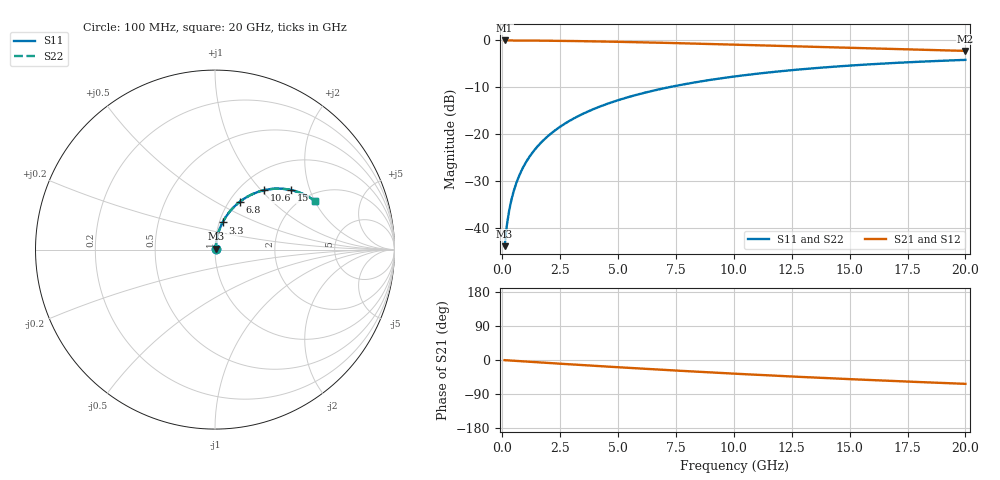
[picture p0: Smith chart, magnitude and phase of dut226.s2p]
! Touchstone file exported from HFSS 2026.1.0
!  File:  C:/ffzhzh/LocalFiles/Ansys_Project_Files/temp_train_BSMRDL_226_1782988137_42984.aedt
!  Generated:  06:30:21 PM Jul  2, 2026
!  Design:  BSMRDL
!  Project:  temp_train_BSMRDL_226_1782988137_42984
! Variables:
!  h_bsmrdl = 5.93um
!  h_ox = 20um
!  h_rdl = 5um
!  h_sub = 80um
!  h_tmrdl = 5um
!  h_tsv = 80um
!  h_via = 3um
!  l_bsmrdl = 948.17um
!  l_sub = 1348.17um
!  l_tmrdl = 200um
!  m_sub = 200um
!  pitch = 58.81um
!  r_tsv = 6um
!  s_tmrdl = 10um
!  w_bsmrdl = 14.32um
!  w_sub = 500um
!  w_tmrdl = 12um
!  x_tsv_center1 = 206um
!  x_tsv_center2 = 1168.49um
!  x_tsv_center3 = 1380.49um
!  x_tsv_center4 = 2342.98um
!  x_tsv_center5 = 2554.98um
!  x_tsv_center6 = 3517.47um
# GHz S MA R 50.000000
! Terminal data exported
! Port[1] = BSM_RDL1_1_T1
! Port[2] = BSM_RDL1_1_T2
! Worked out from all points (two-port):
!   200 points, 100 MHz to 20 GHz, reference 50 ohm
!   highest |S21| = -0.03 dB at 100 MHz (marker M1); lowest = -2.2 dB at 20 GHz (marker M2)
!   |S21| within 3 dB of the highest: start of sweep to end of sweep
!   lowest |S11| = -43.8 dB at 100 MHz (marker M3), VSWR 1.01, Z = 50.4 + j0.508 ohm
!   |S11| at or under -10 dB: start of sweep to 7.186 GHz
!   |S22| runs from -43.8 to -4.2 dB; largest |S21 - S12| = 2.4e-15
!   S11 on the Smith chart (normalised r, x): 100 MHz: 1.01, +0.01; 3.3 GHz: 1.04, +0.32; 6.8 GHz: 1.12, +0.66; 10.6 GHz: 1.28, +1.04; 15 GHz: 1.61, +1.50; 20 GHz: 2.29, +2.01
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0.1  0.006447 51.4  0.996 -0.4  0.996 -0.4  0.006447 51.4
! Gamma 0 0 0 0
! Port Impedance 50 0 50 0
0.2  0.01088 67.0  0.9958 -0.8  0.9958 -0.8  0.01088 67.0
0.3  0.0156 73.0  0.9957 -1.2  0.9957 -1.2  0.0156 73.0
0.4  0.02038 76.1  0.9954 -1.6  0.9954 -1.6  0.02038 76.1
0.5  0.02518 77.8  0.9952 -2.0  0.9952 -2.0  0.02518 77.8
0.7  0.03481 79.6  0.9948 -2.8  0.9948 -2.8  0.03481 79.6
1  0.04926 80.3  0.9939 -4.0  0.9939 -4.0  0.04926 80.3
1.4  0.06848 80.1  0.9924 -5.5  0.9924 -5.5  0.06848 80.1
1.9  0.09228 78.9  0.99 -7.5  0.99 -7.5  0.09228 78.9
2.5  0.1204 77.1  0.9862 -9.8  0.9862 -9.8  0.1204 77.1
3.3  0.1569 74.4  0.9801 -12.8  0.9801 -12.8  0.1569 74.4
3.5  0.1658 73.7  0.9784 -13.6  0.9784 -13.6  0.1658 73.7
4.2  0.1965 71.3  0.9718 -16.2  0.9718 -16.2  0.1965 71.3
5  0.2304 68.5  0.9635 -19.1  0.9635 -19.1  0.2304 68.5
6.8  0.3018 62.4  0.9422 -25.4  0.9422 -25.4  0.3018 62.4
8.3  0.356 57.5  0.9225 -30.5  0.9225 -30.5  0.356 57.6
10.1  0.4143 51.9  0.8974 -36.3  0.8974 -36.3  0.4143 51.9
10.6  0.4293 50.4  0.8903 -37.9  0.8903 -37.9  0.4293 50.4
13.4  0.5029 42.4  0.8509 -46.1  0.8509 -46.1  0.5029 42.4
15  0.5379 38.1  0.8295 -50.5  0.8295 -50.5  0.5379 38.1
16.7  0.57 33.8  0.8082 -54.9  0.8082 -54.9  0.57 33.8
20  0.6189 25.9  0.7722 -62.9  0.7722 -62.9  0.6189 25.9
